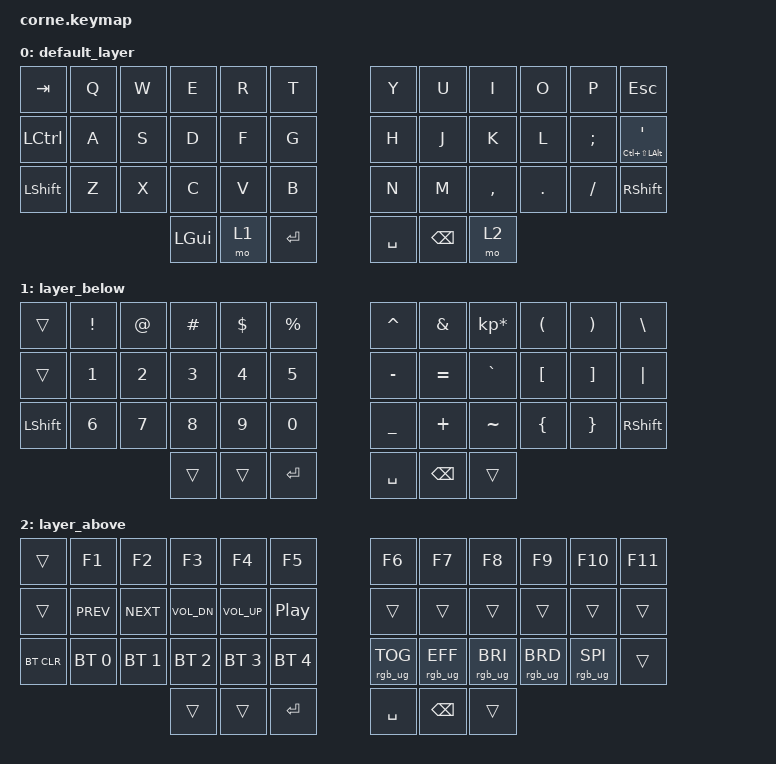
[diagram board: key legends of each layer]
/*
 * Copyright (c) 2020 The ZMK Contributors
 *
 * SPDX-License-Identifier: MIT
 */

#include <dt-bindings/led/led.h>
#include <behaviors.dtsi>
#include <dt-bindings/zmk/bt.h>
#include <dt-bindings/zmk/ext_power.h>
#include <dt-bindings/zmk/keys.h>
#include <dt-bindings/zmk/keys.h>
#include <dt-bindings/zmk/rgb.h>

&led_strip { chain-length = <42>; };

/ {
    behaviors {
        tp: tap_preferred {
            compatible = "zmk,behavior-hold-tap";
            label = "TAP_PREFERRED";
            #binding-cells = <2>;
            tapping-term-ms = <150>;
            quick-tap-ms = <0>;
            flavor = "tap-preferred";
            bindings = <&kp>, <&kp>;
        };
    };

    chosen { zmk,underglow = &led_strip; };

    keymap {
        compatible = "zmk,keymap";

	default_layer {
		// -----------------------------------------------------------------------------------------
		// | TAB  |  Q  |  W  |  E  |  R  |    T    |   |  Y  |  U   |  I  |  O  |  P  | ESC |
		// | CTRL |  A  |  S  |  D  |  F  |    G    |   |  H  |  J   |  K  |  L  |  ;  |  '   |
		// | SHFT |  Z  |  X  |  C  |  V  |    B    |   |  N  |  M   |  ,  |  .  |  /  | SHFT |
		//                    | GUI | LWR | ENT |   | SPC | BKSP  | RSE |
		bindings = <
		&kp TAB   &kp Q &kp W &kp E &kp R &kp T   &kp Y &kp U  &kp I     &kp O   &kp P    &kp ESC
		&kp LCTRL &kp A &kp S &kp D &kp F &kp G   &kp H &kp J  &kp K     &kp L   &kp SEMI &tp LC(LS(LALT)) SQT
		&kp LSHFT &kp Z &kp X &kp C &kp V &kp B   &kp N &kp M  &kp COMMA &kp DOT &kp FSLH &kp RSHFT 
				&kp LGUI &mo 1 &kp RET   &kp SPACE &kp BSPC &mo 2
		>;
	};

	layer_below {
		// -----------------------------------------------------------------------------------------
		// |      |  !  |  @  |  #  |  $  |    %     |   |  ^  |  &  |  *  |  (  |  )  |   \   |
		// |      |  1  |  2  |  3  |  4  |    5     |   |  -  |  =  |  `  |  [  |  ]  |  "|"  |
		// | SHFT |  6  |  7  |  8  |  9  |    0     |   |  _  |  +  |  ~  |  {  |  }  | RSHFT |
		//                     | | | ENT |   | SPACE | BKSP | |
		bindings = <
		&trans    &kp EXCL &kp AT &kp HASH &kp DLLR &kp PRCNT   &kp CARET  &kp AMPS  &kp KP_MULTIPLY &kp LPAR &kp RPAR &kp BSLH
		&trans    &kp N1   &kp N2 &kp N3   &kp N4   &kp N5      &kp MINUS  &kp EQUAL &kp GRAVE       &kp LBKT &kp RBKT &kp PIPE
		&kp LSHFT &kp N6   &kp N7 &kp N8   &kp N9   &kp N0      &kp UNDER  &kp PLUS  &kp TILDE       &kp LBRC &kp RBRC &kp RSHFT
				&trans &trans  &kp RET     &kp SPACE &kp BSPC  &trans
		>;
	};

	layer_above {
		// -----------------------------------------------------------------------------------------
		// |       |  F1  |  F2  |  F3  |  F4  |  F5 |            |  F6  |  F7  |  F8  |  F9  |  F10  |  F11  |
		// |       | Prev | Next | Vol - | Vol + | Play/Pause |   |      | LFT | DWN |  UP | RGT |     |     |
		// | BTCLR | BT1 | BT2 | BT3 | BT4 | BT5 |   |            | RGB_TOG | RGB_EFF | RGB_BRI | RGB_BRD | RGB_SPI | |
		//                    | | | ENT |   | SPACE | BKSP | |
		bindings = <
		&trans     &kp F1        &kp F2       &kp F3       &kp F4       &kp F5          &kp F6   &kp F7   &kp F8 &kp F9    &kp F10 &kp F11
		&trans     &kp C_PREV    &kp C_NEXT   &kp C_VOL_DN &kp C_VOL_UP &kp C_PP        &trans   &trans   &trans &trans    &trans &trans
		&bt BT_CLR &bt BT_SEL 0  &bt BT_SEL 1 &bt BT_SEL 2 &bt BT_SEL 3 &bt BT_SEL 4    &rgb_ug RGB_TOG &rgb_ug RGB_EFF &rgb_ug RGB_BRI &rgb_ug RGB_BRD &rgb_ug RGB_SPI &trans
				&trans &trans  &kp RET     &kp SPACE &kp BSPC  &trans
		>;
	};
    };
};
